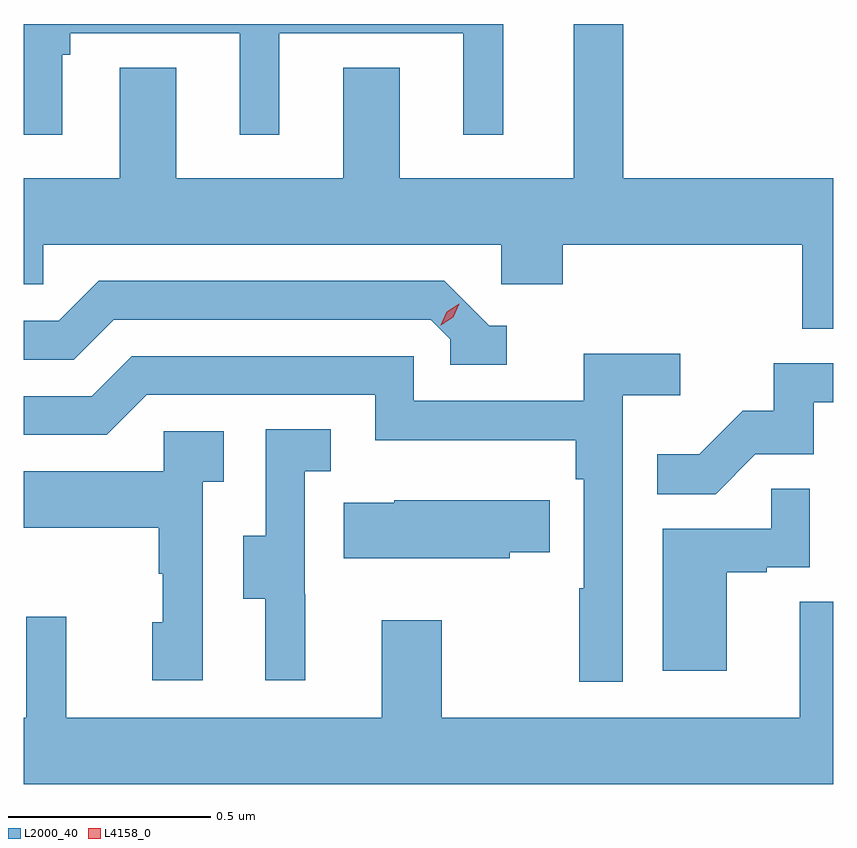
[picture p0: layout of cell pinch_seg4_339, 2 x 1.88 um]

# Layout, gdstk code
import gdstk
lib = gdstk.Library(unit=1e-6, precision=1e-09)
def P(c, l, *ps):  # polygons
    for p in ps: c.add(gdstk.Polygon(p, *l))
L2000_40 = (2000, 40)
L4158_0 = (4158, 0)

pinch_seg4_339 = lib.new_cell('pinch_seg4_339')
P(pinch_seg4_339, L2000_40, [(976.159,810.609),(976.179,810.609),(976.179,810.662),(976.598,810.662),(976.598,810.411),(976.696,810.411),(976.696,810.662),(977.15,810.662),(977.15,810.411),(977.248,810.411),(977.248,810.685),(976.064,810.685),(976.064,810.411),(976.159,810.411)],
  [(978.064,810.304),(977.545,810.304),(977.545,810.685),(977.423,810.685),(977.423,810.304),(976.993,810.304),(976.993,810.577),(976.853,810.577),(976.853,810.304),(976.441,810.304),(976.441,810.577),(976.301,810.577),(976.301,810.304),(976.064,810.304),(976.064,810.042),(976.113,810.042),(976.113,810.14),(977.244,810.14),(977.244,810.042),(977.396,810.042),(977.396,810.14),(977.987,810.14),(977.987,809.932),(978.064,809.932)],
  [(977.257,809.94),(977.214,809.94),(977.103,810.051),(976.25,810.051),(976.151,809.952),(976.064,809.952),(976.064,809.856),(976.188,809.856),(976.287,809.955),(977.07,809.955),(977.118,809.907),(977.118,809.844),(977.257,809.844)],
  [(977.544,809.768),(977.686,809.768),(977.686,809.87),(977.447,809.87),(977.447,809.754),(977.028,809.754),(977.028,809.865),(976.331,809.865),(976.232,809.766),(976.064,809.766),(976.064,809.67),(976.269,809.67),(976.368,809.769),(976.932,809.769),(976.932,809.657),(977.428,809.657),(977.428,809.561),(977.448,809.561),(977.448,809.291),(977.436,809.291),(977.436,809.061),(977.544,809.061)],
  [(977.871,809.622),(978.015,809.622),(978.015,809.751),(978.064,809.751),(978.064,809.847),(977.917,809.847),(977.917,809.73),(977.84,809.73),(977.733,809.623),(977.629,809.623),(977.629,809.524),(977.773,809.524)],
  [(976.76,809.277),(976.758,809.277),(976.758,809.581),(976.822,809.581),(976.822,809.684),(976.662,809.684),(976.662,809.421),(976.607,809.421),(976.607,809.266),(976.661,809.266),(976.661,809.064),(976.76,809.064)],
  [(976.506,809.555),(976.558,809.555),(976.558,809.679),(976.41,809.679),(976.41,809.581),(976.064,809.581),(976.064,809.441),(976.398,809.441),(976.398,809.327),(976.408,809.327),(976.408,809.208),(976.382,809.208),(976.382,809.064),(976.506,809.064)],
  [(977.8,809.331),(977.9,809.331),(977.9,809.343),(978.006,809.343),(978.006,809.537),(977.911,809.537),(977.911,809.439),(977.642,809.439),(977.642,809.088),(977.8,809.088)],
  [(977.265,809.38),(977.363,809.38),(977.363,809.509),(976.98,809.509),(976.98,809.503),(976.855,809.503),(976.855,809.366),(977.265,809.366)],
  [(978.064,809.258),(977.981,809.258),(977.981,808.972),(977.097,808.972),(977.097,809.212),(976.949,809.212),(976.949,808.972),(976.169,808.972),(976.169,809.221),(976.071,809.221),(976.071,808.972),(976.064,808.972),(976.064,808.808),(978.064,808.808)])
P(pinch_seg4_339, L4158_0, [(977.094,809.941),(977.094,809.941),(977.109,809.974),(977.14,809.994),(977.14,809.994),(977.14,809.994),(977.125,809.961),(977.094,809.941)])

lib.write_gds('pinch_seg4_339.gds')
